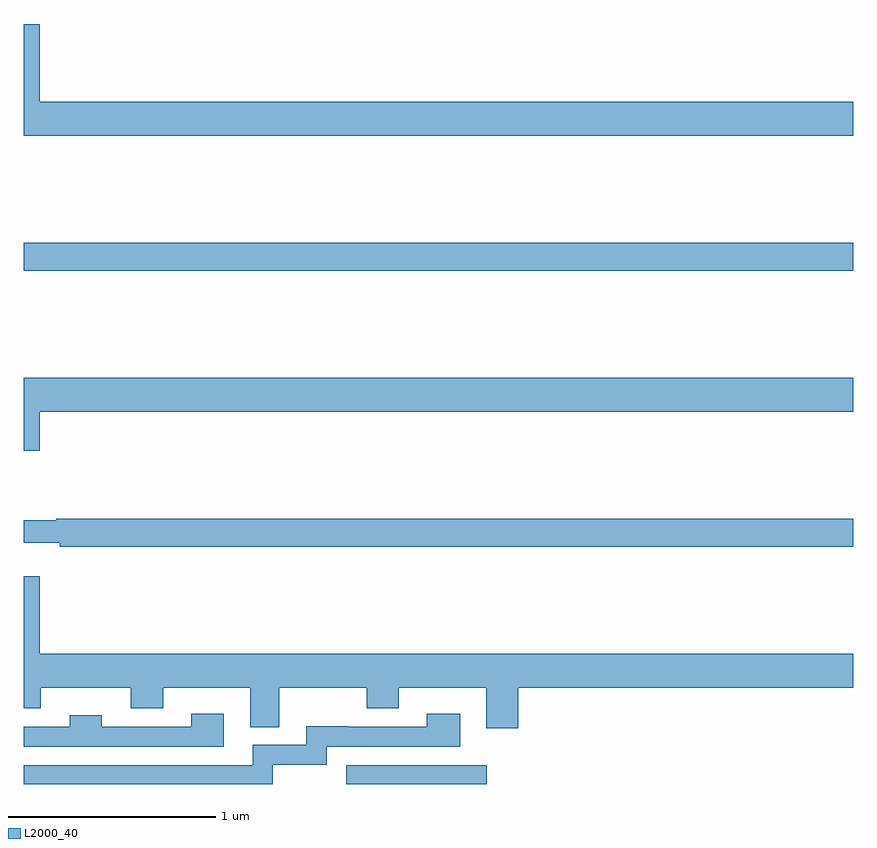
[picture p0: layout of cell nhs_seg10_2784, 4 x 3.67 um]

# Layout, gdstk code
import gdstk
lib = gdstk.Library(unit=1e-6, precision=1e-09)
def R(c, l, rs):  # rectangles x0, y0, x1, y1
    for r in rs: c.add(gdstk.rectangle(r[:2], r[2:], *l))
def P(c, l, *ps):  # polygons
    for p in ps: c.add(gdstk.Polygon(p, *l))
L2000_40 = (2000, 40)

nhs_seg10_2784 = lib.new_cell('nhs_seg10_2784')
R(nhs_seg10_2784, L2000_40, [(262.554,1318.5,263.233,1318.59), (261,1320.976,265,1321.112)])
P(nhs_seg10_2784, L2000_40, [(265,1321.792),(261.076,1321.792),(261.076,1322.167),(261,1322.167),(261,1321.628),(265,1321.628)],
  [(261.076,1320.296),(265,1320.296),(265,1320.46),(261,1320.46),(261,1320.108),(261.076,1320.108)],
  [(265,1319.78),(261.155,1319.78),(261.155,1319.773),(261,1319.773),(261,1319.663),(261.172,1319.663),(261.172,1319.644),(265,1319.644)],
  [(263.384,1318.964),(265,1318.964),(265,1319.128),(261.076,1319.128),(261.076,1319.503),(261,1319.503),(261,1318.865),(261.081,1318.865),(261.081,1318.964),(261.514,1318.964),(261.514,1318.865),(261.672,1318.865),(261.672,1318.964),(262.091,1318.964),(262.091,1318.774),(262.231,1318.774),(262.231,1318.964),(262.654,1318.964),(262.654,1318.865),(262.809,1318.865),(262.809,1318.964),(263.231,1318.964),(263.231,1318.77),(263.384,1318.77)],
  [(262.2,1318.593),(262.462,1318.593),(262.462,1318.68),(263.104,1318.68),(263.104,1318.84),(262.943,1318.84),(262.943,1318.776),(262.565,1318.776),(262.565,1318.778),(262.361,1318.778),(262.361,1318.689),(262.103,1318.689),(262.103,1318.59),(261,1318.59),(261,1318.5),(262.2,1318.5)],
  [(261.964,1318.84),(261.808,1318.84),(261.808,1318.776),(261.375,1318.776),(261.375,1318.831),(261.22,1318.831),(261.22,1318.776),(261,1318.776),(261,1318.68),(261.964,1318.68)])

lib.write_gds('nhs_seg10_2784.gds')
